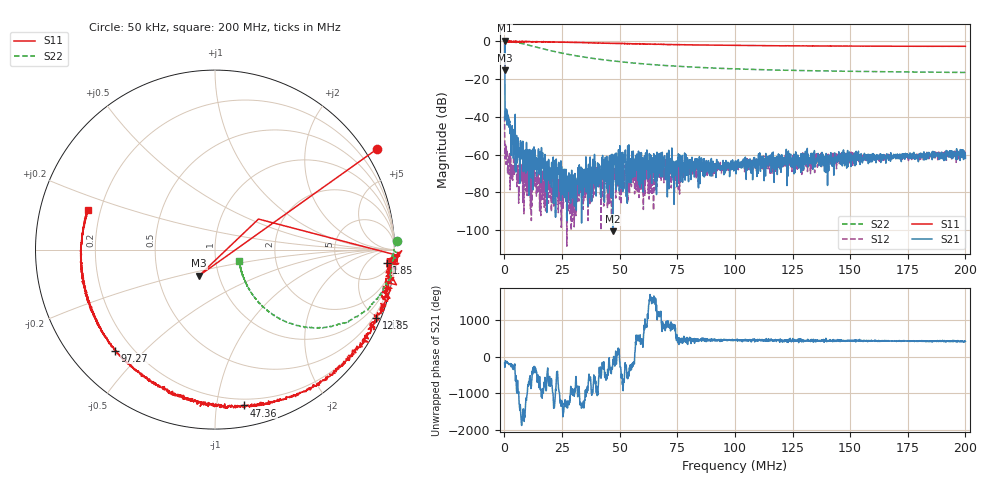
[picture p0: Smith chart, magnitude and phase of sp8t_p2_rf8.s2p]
! 26-Feb-26 11:37:15 AM
! E:\VNA_MEASUREMENTS\SP8T\SP8T_P2_RF8.S2P
! CHANNEL.1
! TR.MEASUREMENT
! CORRECTED.DATA
# GHZ S RI R 50.0
! FREQ.GHZ  S11RE  S11IM  S21RE  S21IM  S12RE  S12IM  S22RE  S22IM
!; PortSelection: Port_12
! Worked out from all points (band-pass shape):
!   2000 points, 50 kHz to 200 MHz, reference 50 ohm
!   highest |S21| = 0.45 dB at 150 kHz (marker M1); lowest = -100.5 dB at 46.96 MHz (marker M2)
!   |S21| within 3 dB of the highest: 112.8 kHz to 157.9 kHz (45.04 kHz wide, 33.3 % of centre)
!   lowest |S11| = -15.4 dB at 150 kHz (marker M3), VSWR 1.41, Z = 40.2 - j12 ohm
!   |S11| at or under -10 dB: 116.2 kHz to 255.3 kHz (139.1 kHz wide, 74.9 % of centre)
!   |S22| runs from -16.5 to 0.1 dB; largest |S21 - S12| = 1.1
!   S11 on the Smith chart (normalised r, x): 50 kHz: -0.38, +3.47; 1.85 MHz: 10, -20; 12.85 MHz: 0.30, -4.88; 47.36 MHz: 0.15, -1.19; 97.27 MHz: 0.14, -0.41; 200 MHz: 0.15, +0.15
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5e-05  0.8998 0.5582  -0.4095 -0.0726  -0.00936 0.00497  1.014 0.046
0.000150025  -0.0889 -0.1454  0.2717 1.017  -0.000367 -0.000687  0.9955 -0.00517
0.0012503  0.9606 -0.052  -0.0122 -0.00259  0.000629 0.0005  0.9888 -0.0855
0.00185045  0.9576 -0.0748  -0.00807 0.00229  -0.00055 0.000178  0.9768 -0.1193
0.005751426  0.9655 -0.1893  0.00138 0.00155  -0.000306 -0.000415  0.8672 -0.3177
0.0128532  0.8976 -0.3828  -0.000299 0.00158  0.000438 0.000212  0.5823 -0.4339
0.02025505  0.764 -0.5815  0.000252 0.00016  -6.17e-05 -0.000139  0.397 -0.4027
0.02275568  0.7065 -0.6405  -4.19e-05 -9.86e-05  7.24e-05 4.44e-05  0.3566 -0.3819
0.02495623  0.673 -0.675  -0.000147 -0.000201  -0.000132 6.81e-05  0.3258 -0.3654
0.03345835  0.4729 -0.7959  1.24e-05 9.2e-06  -4.91e-05 4.83e-05  0.2528 -0.3027
0.0432608  0.2428 -0.8691  0.000291 0.000677  0.000156 9.3e-05  0.2083 -0.2485
0.04566141  0.1875 -0.8675  -6.01e-05 0.0003  -5.01e-05 3.65e-05  0.2007 -0.2375
0.04696173  0.1643 -0.8691  -9.3e-06 -1.4e-06  0.000176 0.000346  0.1973 -0.2323
0.04736183  0.1613 -0.8681  0.000282 5.57e-05  -0.000336 0.000314  0.1959 -0.2311
0.05306326  0.033 -0.8694  0.000338 -0.000558  5.66e-05 -0.000208  0.1839 -0.2086
0.06186546  -0.1335 -0.8399  -0.000378 0.000394  -0.000342 0.000411  0.1711 -0.1822
0.06676668  -0.2052 -0.8152  -0.0001 0.000239  0.000185 0.000185  0.1651 -0.1702
0.09727431  -0.5566 -0.5626  -0.000113 0.000518  1.63e-05 0.000451  0.147 -0.1204
0.100075  -0.5765 -0.5375  -0.00016 0.000498  -3.47e-05 0.000503  0.1455 -0.1173
0.1333833  -0.7206 -0.2414  9.85e-05 0.000618  -0.00021 0.00106  0.1404 -0.0914
0.1666917  -0.7464 0.00927  3.79e-05 0.000712  0.000219 0.000754  0.1377 -0.0758
0.2  -0.7056 0.2203  0.000341 0.000723  0.000396 0.000735  0.1358 -0.0639
